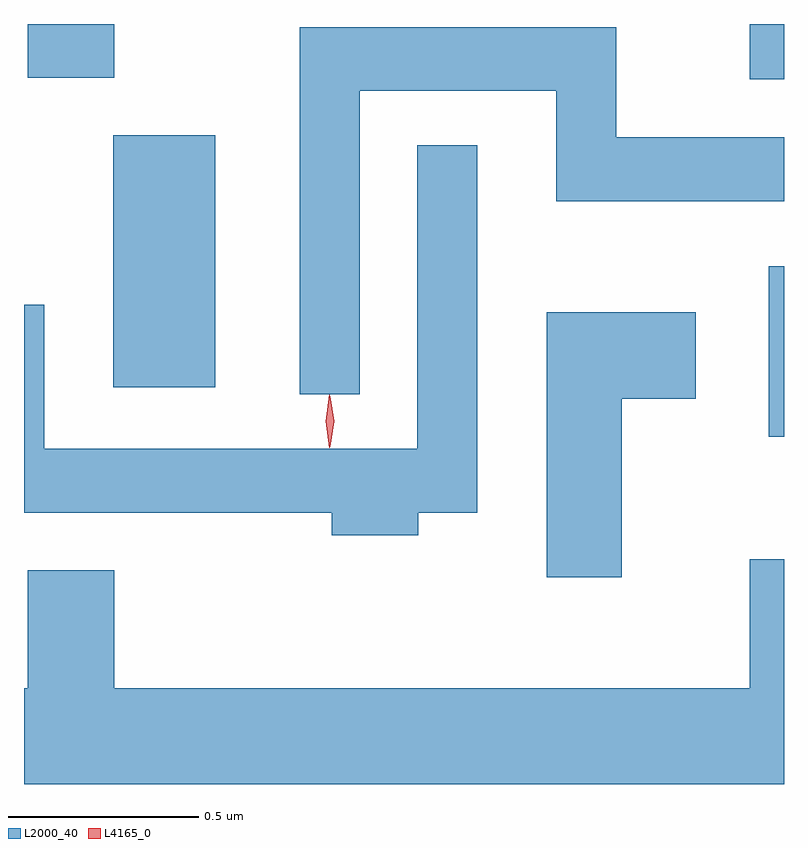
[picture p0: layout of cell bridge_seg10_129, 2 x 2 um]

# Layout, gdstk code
import gdstk
lib = gdstk.Library(unit=1e-6, precision=1e-09)
def R(c, l, rs):  # rectangles x0, y0, x1, y1
    for r in rs: c.add(gdstk.rectangle(r[:2], r[2:], *l))
def P(c, l, *ps):  # polygons
    for p in ps: c.add(gdstk.Polygon(p, *l))
L2000_40 = (2000, 40)
L4165_0 = (4165, 0)

bridge_seg10_129 = lib.new_cell('bridge_seg10_129')
R(bridge_seg10_129, L2000_40, [(1593.391,2130.386,1593.431,2130.834), (1591.666,2130.516,1591.934,2131.179), (1593.341,2131.326,1593.431,2131.472), (1591.441,2131.331,1591.669,2131.472)])
P(bridge_seg10_129, L2000_40, [(1592.314,2131.296),(1592.831,2131.296),(1592.831,2131.006),(1593.431,2131.006),(1593.431,2131.174),(1592.989,2131.174),(1592.989,2131.464),(1592.156,2131.464),(1592.156,2130.498),(1592.314,2130.498)],
  [(1592.469,2130.186),(1592.624,2130.186),(1592.624,2131.153),(1592.466,2131.153),(1592.466,2130.354),(1591.484,2130.354),(1591.484,2130.733),(1591.431,2130.733),(1591.431,2130.186),(1592.241,2130.186),(1592.241,2130.126),(1592.469,2130.126)],
  [(1593.004,2130.486),(1593.199,2130.486),(1593.199,2130.714),(1592.806,2130.714),(1592.806,2130.016),(1593.004,2130.016)],
  [(1593.431,2130.064),(1593.341,2130.064),(1593.341,2129.724),(1591.669,2129.724),(1591.669,2130.034),(1591.441,2130.034),(1591.441,2129.724),(1591.431,2129.724),(1591.431,2129.472),(1593.431,2129.472)])
P(bridge_seg10_129, L4165_0, [(1592.236,2130.36),(1592.227,2130.426),(1592.236,2130.492),(1592.236,2130.493),(1592.237,2130.492),(1592.247,2130.426),(1592.237,2130.36),(1592.237,2130.36)],
  [(1592.234,2130.357),(1592.225,2130.426),(1592.234,2130.496),(1592.235,2130.496),(1592.235,2130.496),(1592.245,2130.426),(1592.235,2130.357),(1592.235,2130.357)])

lib.write_gds('bridge_seg10_129.gds')
